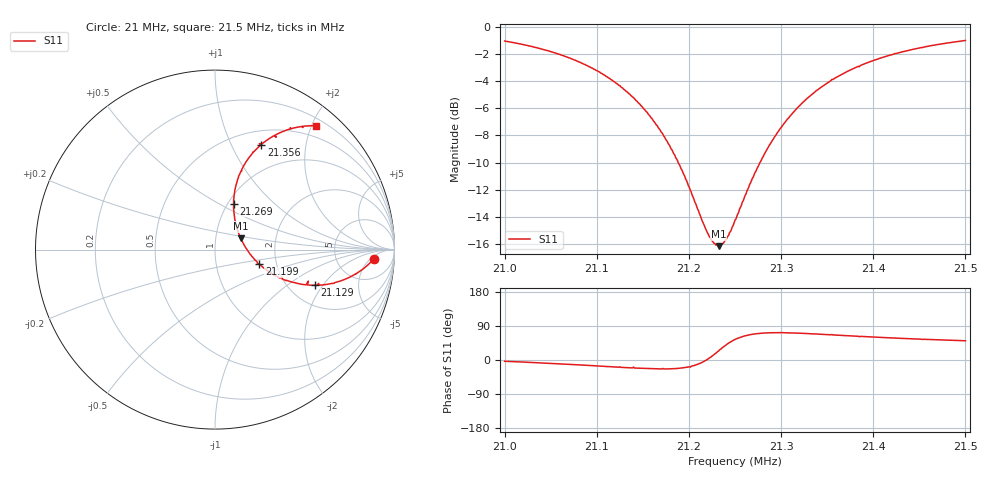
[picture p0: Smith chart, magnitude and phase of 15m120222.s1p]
# HZ S RI R 50
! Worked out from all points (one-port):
!   505 points, 21 MHz to 21.5 MHz, reference 50 ohm
!   lowest |S11| = -16.2 dB at 21.232 MHz (marker M1), VSWR 1.37, Z = 66 + j8.46 ohm
!   |S11| at or under -10 dB: 21.18836 MHz to 21.27699 MHz (88.64 kHz wide, 0.417 % of centre)
!   S11 on the Smith chart (normalised r, x): 21 MHz: 13, -7; 21.129 MHz: 2.75, -1.67; 21.199 MHz: 1.63, -0.28; 21.269 MHz: 1.06, +0.59; 21.356 MHz: 0.66, +1.31; 21.5 MHz: 0.31, +2.07
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2.1e7  0.8848 -0.0524
2.102877e7  0.8416 -0.0945
2.10625e7  0.7724 -0.1418
2.109424e7  0.6822 -0.1798
2.112499e7  0.5779 -0.1882
2.112896e7  0.5551 -0.1986
2.114186e7  0.5023 -0.1957
2.115872e7  0.4268 -0.1798
2.117261e7  0.3633 -0.1584
2.118749e7  0.2983 -0.1225
2.119939e7  0.2471 -0.081
2.121526e7  0.1896 -0.0171
2.122122e7  0.1713 0.0098
2.122717e7  0.1549 0.0387
2.123213e7  0.1427 0.0625
2.123907e7  0.1293 0.1
2.124403e7  0.1211 0.126
2.124998e7  0.1137 0.1573
2.126883e7  0.1041 0.2565
2.128867e7  0.1158 0.3539
2.131248e7  0.1541 0.4558
2.133232e7  0.1984 0.5237
2.135613e7  0.2578 0.5854
2.137498e7  0.3062 0.6217
2.140275e7  0.3752 0.6571
2.143747e7  0.4533 0.6806
2.145533e7  0.4878 0.6864
2.149997e7  0.5633 0.6897
